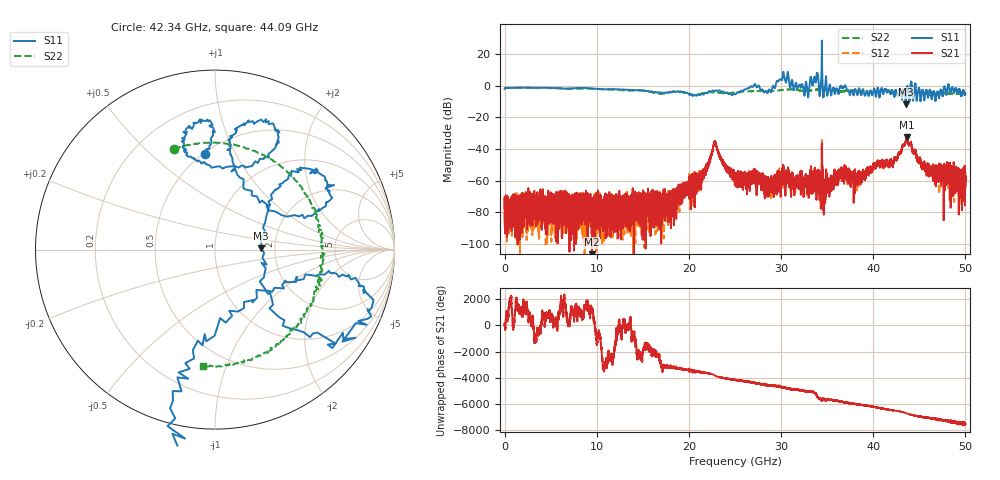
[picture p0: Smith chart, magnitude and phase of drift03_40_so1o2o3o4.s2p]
!Created with skrf (http://scikit-rf.org).
# Hz S RI R 50.0
!freq ReS11 ImS11 ReS21 ImS21 ReS12 ImS12 ReS22 ImS22
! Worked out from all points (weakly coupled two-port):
!   10000 points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, 5.3 MHz to 50 GHz, reference 50 ohm
!   highest |S21| = -32.61 dB at 43.64 GHz (marker M1); lowest = -109.5 dB at 9.48 GHz (marker M2)
!   lowest |S11| = -11.8 dB at 43.52 GHz (marker M3), VSWR 1.69, Z = 84.5 + j1.33 ohm
!   |S11| at or under -10 dB: 43.48628 GHz to 43.5565 GHz (70.22 MHz wide, 0.161 % of centre)
!   |S22| runs from -5.9 to -1.3 dB; largest |S21 - S12| = 0.011
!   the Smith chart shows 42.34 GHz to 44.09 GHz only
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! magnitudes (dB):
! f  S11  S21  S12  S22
! 5.3 MHz  -2.1  -77.5  -84.7  -2.1
! 8.34 GHz  -1.5  -69.4  -72.6  -1.9
! 9.48 GHz  -1.8  -109.5  -74.8  -2.0
! 16.67 GHz  -4.4  -76.2  -71.2  -5.2
! 17.66 GHz  -4.6  -72.2  -74.8  -4.7
! 21.22 GHz  -5.9  -57.4  -57.1  -5.3
! 22.8 GHz  -3.4  -35.5  -35.5  -4.4
! 25.01 GHz  -5.5  -57.5  -59.0  -4.2
! 27.02 GHz  -0.4  -55.5  -55.4  -3.5
! 28.84 GHz  -3.6  -62.4  -65.6  -3.5
! 30.14 GHz  4.5  -52.5  -56.0  -2.8
! 32.74 GHz  2.1  -58.5  -58.2  -3.3
! 33.34 GHz  2.6  -54.7  -55.9  -2.9
! 33.82 GHz  4.3  -62.2  -67.9  -2.6
! 34.85 GHz  4.3  -58.7  -64.9  -2.4
! 36.49 GHz  -0.2  -55.2  -56.4  -3.6
! 38.1 GHz  -2.5  -58.9  -59.6  -2.8
! 41.67 GHz  -3.0  -51.6  -50.3  -3.6
! 43.52 GHz  -11.8  -35.4  -35.5  -4.2
! 43.64 GHz  -1.4  -32.6  -33.3  -4.0
! 45.91 GHz  -6.3  -48.9  -53.2  -5.4
! 50 GHz  -5.2  -60.3  -60.0  -5.0
